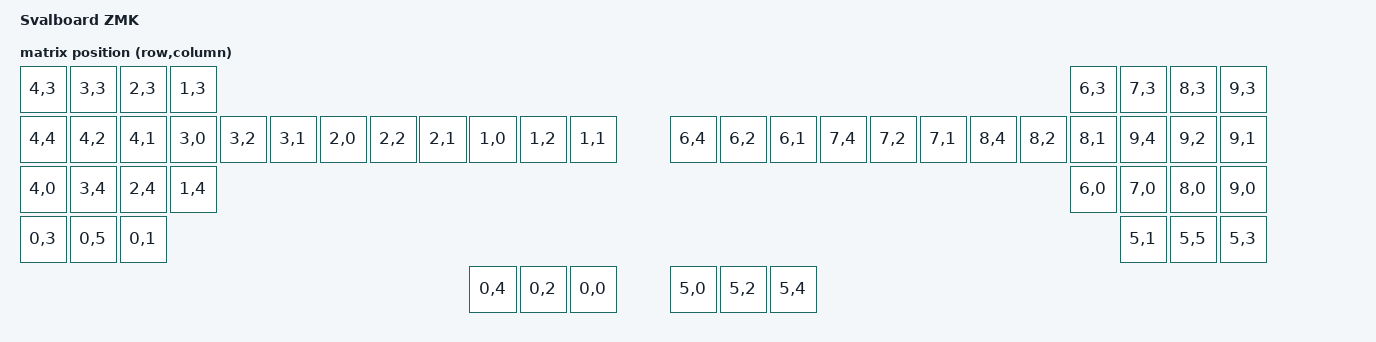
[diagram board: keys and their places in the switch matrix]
/*
 * Copyright (c) 2024 ZMK Contributors
 *
 * SPDX-License-Identifier: MIT
 */

/dts-v1/;
#include <raspberrypi/rpi_pico/rp2040.dtsi>
#include <arm/raspberrypi/rp2040-boot-mode-retention.dtsi>
#include <zephyr/dt-bindings/led/led.h>
#include <zephyr/dt-bindings/pinctrl/rpi-pico-rp2040-pinctrl.h>


#include <dt-bindings/zmk/matrix_transform.h>
#include "svalboard-layouts.dtsi"
#include <physical_layouts.dtsi>



/ {
    model = "Svalboard ZMK";
    compatible = "svalboard";

    chosen {
        zephyr,sram = &sram0;
        zephyr,flash = &flash0;
        zephyr,flash-controller = &ssi;
        zephyr,code-partition = &code_partition;
        zmk,kscan = &kscan0;
        zmk,physical-layout = &default_layout;
        zmk,split-uart = &pio0_uart0;
//        zmk,underglow = &led_strip;
    };
    
    wired_split {
        compatible = "zmk,wired-split";
        device = <&pio0_uart0>;
    };

    default_transform: keymap_transform_0 {
        compatible = "zmk,matrix-transform";
        columns = <6>;
        rows = <10>;
        map = <
	RC(4,3)                 RC(3,3)                 RC(2,3)                 RC(1,3)                 RC(6,3)                 RC(7,3)                 RC(8,3)                 RC(9,3)
RC(4,4) RC(4,2) RC(4,1) RC(3,0) RC(3,2) RC(3,1) RC(2,0) RC(2,2) RC(2,1) RC(1,0) RC(1,2) RC(1,1) RC(6,4) RC(6,2) RC(6,1) RC(7,4) RC(7,2) RC(7,1) RC(8,4) RC(8,2) RC(8,1) RC(9,4) RC(9,2) RC(9,1)
	RC(4,0)                 RC(3,4)                 RC(2,4)                 RC(1,4)                 RC(6,0)                 RC(7,0)                 RC(8,0)                 RC(9,0)
								RC(0,3)	RC(0,5) RC(0,1)			RC(5,1)	RC(5,5) RC(5,3)
								RC(0,4)	RC(0,2) RC(0,0)			RC(5,0)	RC(5,2) RC(5,4)
        >;
    };
};

&flash0 {
    reg = <0x10000000 DT_SIZE_M(16)>;

    partitions {
        compatible = "fixed-partitions";
        #address-cells = <1>;
        #size-cells = <1>;

        /* Reserved memory for the second stage bootloader */
        second_stage_bootloader: partition@0 {
            reg = <0x00000000 0x100>;
            read-only;
        };

        /*
         * Usable flash. Starts at 0x100, after the bootloader.
         */
        code_partition: partition@100 {
            reg = <0x100 (DT_SIZE_M(2) - 0x100 - DT_SIZE_K(512))>;
            read-only;
        };

        storage_partition: partition@180000 {
            reg = <0x180000 DT_SIZE_K(512)>;
        };
    };
};

zephyr_udc0: &usbd {
    status = "okay";
};

&gpio0 {
    status = "okay";
};

&pio0 {
    status = "okay";

    pio0_uart0: serial {
        status = "okay";
        compatible = "raspberrypi,pico-uart-pio";
        pinctrl-0 = <&pio0_uart0_default>;
        pinctrl-names = "default";
        current-speed = <115200>;
    };
};

/ {
    split_inputs {
        #address-cells = <1>;
        #size-cells = <0>;

        trackball_split_left: trackball_split_left@0 {
            compatible = "zmk,input-split";
            reg = <0>;
        };

        trackball_split_right: trackball_split_right@1 {
            compatible = "zmk,input-split";
            reg = <1>;
        };
    };

    trackball_listener_left: trackball_listener_left {
        compatible = "zmk,input-listener";
        status = "disabled";
        device = <&trackball_split_left>;
    };

    trackball_listener_right: trackball_listener_right {
        compatible = "zmk,input-listener";
        status = "disabled";
        device = <&trackball_split_right>;
    };
};

&timer {
    status = "okay";
};

&rtc {
    clocks = <&clocks RPI_PICO_CLKID_CLK_RTC>;
    status = "okay";
};

&vreg {
    regulator-always-on;
    regulator-allowed-modes = <REGULATOR_RPI_PICO_MODE_NORMAL>;
};

&default_layout {
    transform = <&default_transform>;
};
